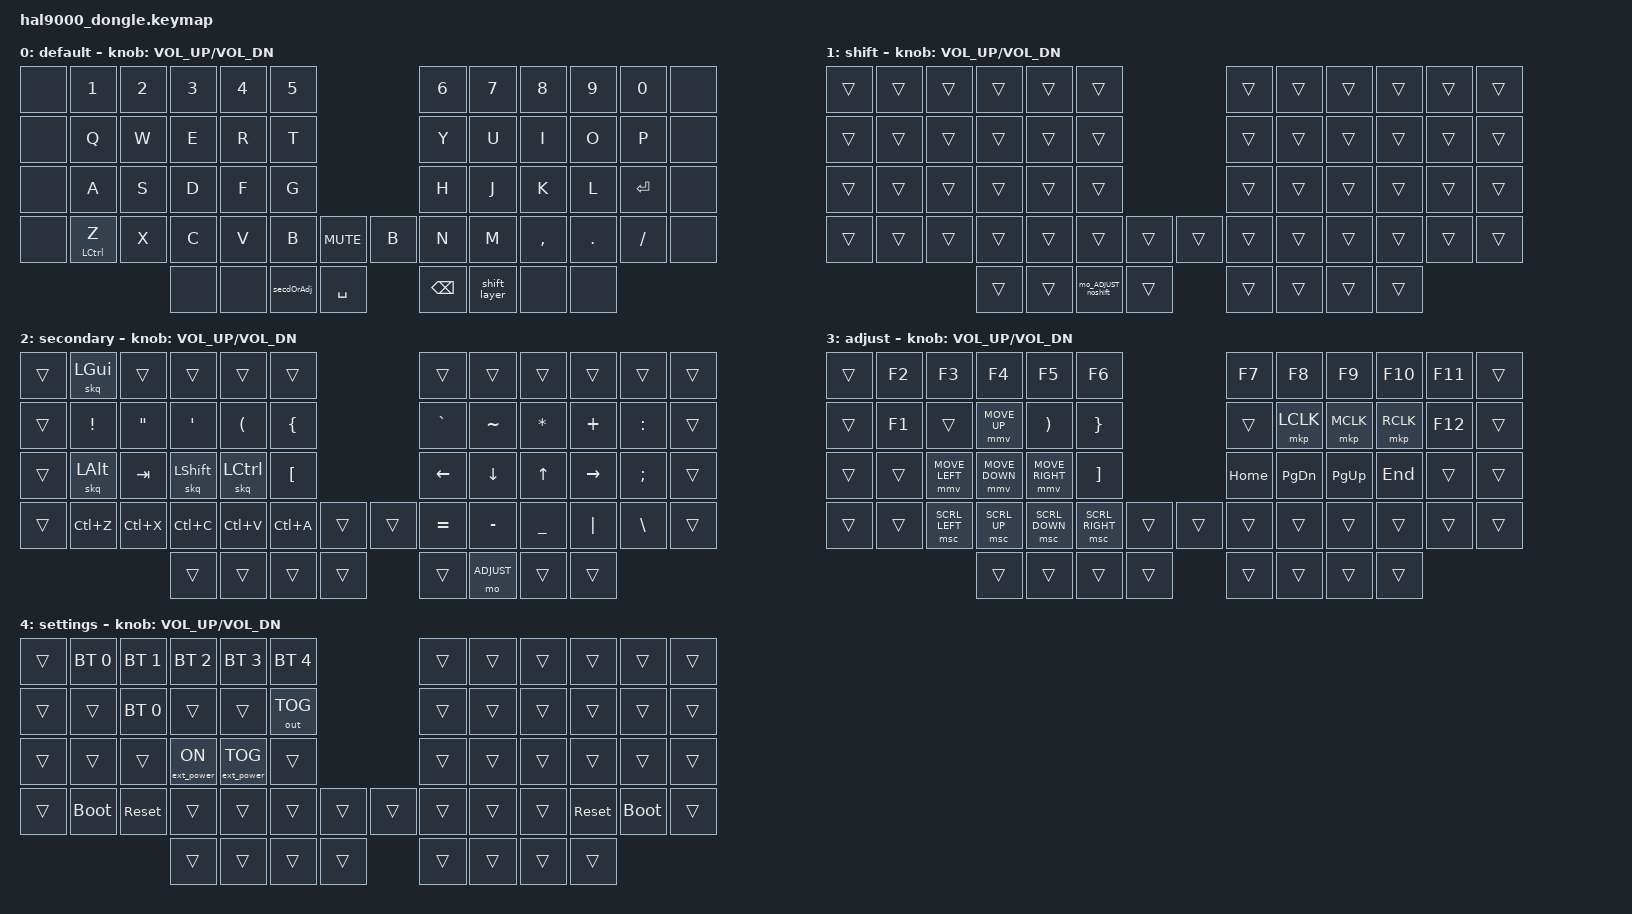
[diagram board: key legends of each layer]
/*
 * Copyright (c) 2020 The ZMK Contributors
 *
 * SPDX-License-Identifier: MIT
 */

#include <behaviors.dtsi>
#include <dt-bindings/zmk/keys.h>
#include <dt-bindings/zmk/bt.h>
#include <dt-bindings/zmk/ext_power.h>
#include <dt-bindings/zmk/rgb.h>
#include <dt-bindings/zmk/outputs.h>
#include <dt-bindings/zmk/pointing.h>



#define DEFAULT       0
#define SHIFT         1
#define SECONDARY     2
#define ADJUST        3
#define SETTINGS      4

#define COMBO_PRIOR_IDLE 200
#define COMBO_TIME       35


/ {
    macros {
        shift_layer: shift_layer {
            compatible = "zmk,behavior-macro";
            #binding-cells = <0>;
            bindings
                = <&macro_press &kp LSHFT >
                , <&macro_press &mo SHIFT>
                , <&macro_pause_for_release>
                , <&macro_release &kp LSHFT>
                , <&macro_release &mo SHIFT>
                ;
        };

        mo_ADJUST_noshift: mo_ADJUST_noshift {
            compatible = "zmk,behavior-macro";
            #binding-cells = <0>;
            bindings
                = <&macro_release &kp LSHFT >
                , <&macro_press &mo ADJUST>
                , <&macro_pause_for_release>
                , <&macro_release &mo ADJUST>
                ;

        };

    };

    behaviors {
        tdBRC: tap_dance_0 { // not currently used
            compatible = "zmk,behavior-tap-dance";
            #binding-cells = <0>;
            tapping-term-ms = <200>;
            bindings = <&kp LBRC>, <&kp RBRC>;
        }; 

        tdBKT: tap_dance_1 { // not currently used
            compatible = "zmk,behavior-tap-dance";
            #binding-cells = <0>;
            tapping-term-ms = <200>;
            bindings = <&kp LBKT>, <&kp RBKT>;
        };
        
        tdLTGT: tap_dance_2 {
            compatible = "zmk,behavior-tap-dance";
            #binding-cells = <0>;
            tapping-term-ms = <200>;
            bindings = <&kp LESS_THAN>, <&kp GREATER_THAN>;
        };

        secdOrAdj: secondary_or_ajust {
            // I want l1 key and shift key to take me to l2 just like lower+upper takes you to adjust.
            // Since shift isn't really a layer, I can't use ZMK's conditional layers.
            compatible = "zmk,behavior-mod-morph";
            #binding-cells = <0>;
            bindings = <&mo SECONDARY>, <&mo ADJUST>;
            mods = <(MOD_LSFT)>;
        };
    
        hm: homerow_mods {
            compatible = "zmk,behavior-hold-tap";
            #binding-cells = <2>;
            tapping-term-ms = <280>;
            quick-tap-ms = <175>;
            flavor = "balanced";
            bindings = <&kp>, <&kp>;
            require-prior-idle-ms = <150>;
        };

        skq: sticky_key_quick_release {
            compatible = "zmk,behavior-sticky-key";
            #binding-cells = <1>;
            bindings = <&kp>;
            release-after-ms = <1000>;
            quick-release;
            ignore-modifiers;
        };

    };

    combos {
        compatible = "zmk,combos";
        combo_esc {
            timeout-ms = <COMBO_TIME>;
            key-positions = <15 16>; // e and r
            bindings = <&kp ESC>;
            require-prior-idle-ms = <COMBO_PRIOR_IDLE>;
        };

        combo_tab {
            timeout-ms = <COMBO_TIME>;
            key-positions = <27 28>;  //  d and f
            bindings = <&kp TAB>;
            require-prior-idle-ms = <COMBO_PRIOR_IDLE>;
            layers = <0>;
        };

        combo_del_lhs {
            timeout-ms = <COMBO_TIME>;
            key-positions = <26 27>; //  s and d
            bindings = <&kp DEL>;
            require-prior-idle-ms = <COMBO_PRIOR_IDLE>;
        };


        combo_del_rhs {
            timeout-ms = <COMBO_TIME>;
            key-positions = <30 31>;  // h and j
            bindings = <&kp DEL>;
            require-prior-idle-ms = <COMBO_PRIOR_IDLE>;
        };

        combo_enter {
            timeout-ms = <COMBO_TIME>;
            key-positions = <31 32>; // j and k
            bindings = <&kp ENTER>;
            require-prior-idle-ms = <COMBO_PRIOR_IDLE>;
            layers = <0>;
        };

        combo_settings {
            timeout-ms = <COMBO_TIME>;
            key-positions = <47 48>; // bottom right two on rhs
            bindings = <&mo SETTINGS>;
            require-prior-idle-ms = <COMBO_PRIOR_IDLE>;
        };
    };

    keymap {
        compatible = "zmk,keymap";

        default_layer {
            display-name = "default";
            bindings = <
&none     &kp N1       &kp N2 &kp N3   &kp N4   &kp N5                     &kp N6       &kp N7   &kp N8    &kp N9  &kp N0   &none
&none     &kp Q        &kp W  &kp E    &kp R    &kp T                      &kp Y        &kp U    &kp I     &kp O   &kp P    &none
&none     &kp A        &kp S  &kp D    &kp F    &kp G                      &kp H        &kp J    &kp K     &kp L   &kp RET  &none
&none     &hm LCTRL Z        &kp X  &kp C    &kp V    &kp B      &kp C_MUTE &kp B  &kp N      &kp M    &kp COMMA &kp DOT &kp FSLH &none
                              &none   &none    &secdOrAdj &kp SPACE  &kp BSPC &shift_layer &none &none
            >;
            sensor-bindings = < &inc_dec_kp C_VOL_UP C_VOL_DN>;
        };

        shift_layer {
            display-name = "shift";

            bindings = <
&trans           &trans           &trans           &trans           &trans            &trans                            &trans         &trans         &trans      &trans      &trans      &trans
&trans           &trans           &trans           &trans           &trans            &trans                            &trans         &trans         &trans      &trans      &trans      &trans           
&trans           &trans           &trans           &trans           &trans            &trans                            &trans         &trans         &trans      &trans      &trans      &trans           
&trans           &trans           &trans           &trans           &trans            &trans           &trans &trans    &trans         &trans         &trans      &trans      &trans      &trans
                                                   &trans           &trans            &mo_ADJUST_noshift    &trans &trans     &trans         &trans         &trans
            
            >;
            sensor-bindings = < &inc_dec_kp C_VOL_UP C_VOL_DN>;

        };

        secondary_layer {
            display-name = "secondary";

            bindings = <
&trans           &skq LGUI        &trans            &trans            &trans         &trans                       &trans    &trans    &trans    &trans    &trans     &trans
&trans           &kp EXCL         &kp DQT           &kp SQT           &kp LPAR       &kp LBRC                     &kp GRAVE &kp TILDE &kp ASTRK &kp PLUS  &kp COLON  &trans
&trans           &skq LALT        &kp TAB           &skq LSHFT        &skq LCTRL     &kp LBKT                     &kp LEFT  &kp DOWN  &kp UP    &kp RIGHT &kp SEMI   &trans
&trans           &kp LC(Z)        &kp LC(X)         &kp LC(C)         &kp LC(V)      &kp LC(A) &trans   &trans    &kp EQUAL &kp MINUS &kp UNDER &kp PIPE  &kp BSLH   &trans
                                                    &trans            &trans         &trans    &trans   &trans    &mo ADJUST     &trans    &trans
            >;
            sensor-bindings = < &inc_dec_kp C_VOL_UP C_VOL_DN>;
            
        }; 


        adjust_layer {
            display-name = "adjust";

            bindings = <
&trans             &kp F2          &kp F3           &kp F4           &kp F5           &kp F6                           &kp F7     &kp F8      &kp F9      &kp F10     &kp F11  &trans
&trans             &kp F1          &trans           &mmv MOVE_UP     &kp RPAR         &kp RBRC                         &trans     &mkp LCLK   &mkp MCLK   &mkp RCLK   &kp F12  &trans
&trans             &trans          &mmv MOVE_LEFT   &mmv MOVE_DOWN   &mmv MOVE_RIGHT  &kp RBKT                         &kp HOME   &kp PG_DN   &kp PG_UP   &kp END     &trans   &trans
&trans             &trans          &msc SCRL_LEFT   &msc SCRL_UP     &msc SCRL_DOWN   &msc SCRL_RIGHT   &trans &trans  &trans     &trans      &trans      &trans      &trans   &trans
                                                   &trans            &trans           &trans            &trans &trans  &trans     &trans      &trans
            >;
            sensor-bindings = < &inc_dec_kp C_VOL_UP C_VOL_DN>;

        };

        settings_layer {
            display-name = "settings";

            bindings = <
&trans           &bt BT_SEL 0     &bt BT_SEL 1     &bt BT_SEL 2     &bt BT_SEL 3      &bt BT_SEL 4                      &trans         &trans         &trans      &trans      &trans      &trans
&trans           &trans           &bt BT_SEL 0           &trans           &trans            &out OUT_TOG                      &trans         &trans         &trans      &trans      &trans      &trans           
&trans           &trans           &trans           &ext_power EP_ON &ext_power EP_TOG &trans                            &trans         &trans         &trans      &trans      &trans      &trans           
&trans           &bootloader      &sys_reset       &trans           &trans            &trans          &trans &trans     &trans         &trans         &trans      &sys_reset  &bootloader &trans      
                                                   &trans           &trans            &trans          &trans &trans     &trans         &trans         &trans
            >;
            sensor-bindings = < &inc_dec_kp C_VOL_UP C_VOL_DN>;

        };

        extra1 { status = "reserved"; };

        extra2 { status = "reserved"; };

        extra3 { status = "reserved"; };

        extra4 { status = "reserved"; };

        extra5 { status = "reserved"; };
    };
};
